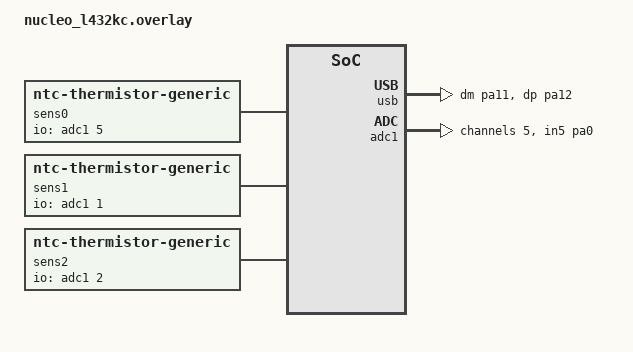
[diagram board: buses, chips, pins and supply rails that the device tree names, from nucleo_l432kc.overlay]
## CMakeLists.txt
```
cmake_minimum_required(VERSION 3.13.1)
find_package(Zephyr REQUIRED HINTS $ENV{ZEPHYR_BASE})

project(app LANGUAGES CXX)

target_include_directories(app PRIVATE include)

if (CMAKE_HOST_WIN32)
    set(PROTC_PLUGIN protoc-gen-eams=protoc-gen-eams.bat)
else()
    set(PROTC_PLUGIN protoc-gen-eams)
endif()

execute_process(
COMMAND
    protoc
    --plugin=${PROTC_PLUGIN}
    -I${CMAKE_CURRENT_SOURCE_DIR}/../proto
    --eams_out=${CMAKE_CURRENT_BINARY_DIR}/zephyr/include/generated
    SerialTempSens_messages.proto
WORKING_DIRECTORY
    ${ZEPHYR_BASE}/../modules/EmbeddedProto
ERROR_VARIABLE
    PROTOC_ERROR
RESULT_VARIABLE
    PROTOC_STATUS
)

if(NOT PROTOC_STATUS EQUAL 0)
    message(SEND_ERROR "Failed to generate protobuf headers: ${PROTOC_ERROR}")
endif()

target_link_libraries(app
PUBLIC
    embeddedProto
    myLib
)

target_sources(app
PRIVATE
    src/main.cpp
    src/SensorService.cpp
)
```

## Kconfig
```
# Copyright (c) 2021 Nordic Semiconductor ASA
# SPDX-License-Identifier: Apache-2.0
#
# This file is the application Kconfig entry point. All application Kconfig
# options can be defined here or included via other application Kconfig files.
# You can browse these options using the west targets menuconfig (terminal) or
# guiconfig (GUI).

menu "Zephyr"
source "Kconfig.zephyr"
endmenu

menu "App"
rsource "Kconfig.SensorService"
rsource "Kconfig.MessageChannel"
endmenu

module = APP
module-str = APP
source "subsys/logging/Kconfig.template.log_config"
```

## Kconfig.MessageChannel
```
config MESSAGECHANNEL
    bool "MessageChannel"
    # select REQUIRES_FULL_LIBCPP

if MESSAGECHANNEL

    config MESSAGECHANNEL_RECEIVE_TIMEOUT
        int "MessageChannel receive timeout [ms]"
        default 500

    config MESSAGECHANNEL_UART_BUFFER_SIZE
        int "MessageChannel UART Receivebuffer size"
        default 32

endif # MESSAGECHANNEL
```

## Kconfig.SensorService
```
config SENSORSERVICE
    bool "Sensorservice"
    select SENSOR
    select REQUIRES_FULL_LIBCPP

if SENSORSERVICE

    config SENSORSERVICE_FETCH_INTERVAL
        int "Sensor fetch interval [ms]"
        default 500

    config SENSORSERVICE_THREAD_PRIO
        int "Sensorservice thread priority"
        default 0

    config SENSORSERVICE_STACK_SIZE
        int "Sensorservice thread stack size"
        default 512

    module = SENSORSERVICE
    module-str = SENSORSERVICE
    source "subsys/logging/Kconfig.template.log_config"

endif # SENSORSERVICE
```

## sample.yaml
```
# This file is provided so that the application can be compiled using Twister,
# the Zephyr testing tool. In this file, multiple combinations can be specified,
# so that you can easily test all of them locally or in CI.
sample:
  description: Serial TempSens Firmware
  name: serialTempSens-fw
common:
  build_only: true
  integration_platforms:
    - serial_temp_sens
tests:
  app.default: {}
  app.debug:
    extra_overlay_confs:
      - debug.conf
```

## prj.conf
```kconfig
CONFIG_CPP=y
CONFIG_STD_CPP2B=y

CONFIG_EMBEDDEDPROTO=y
CONFIG_MYLIB=y

CONFIG_SERIAL=y
CONFIG_UART_INTERRUPT_DRIVEN=y
CONFIG_USB_DEVICE_STACK=y
CONFIG_USB_CDC_ACM=y
CONFIG_USB_DEVICE_INITIALIZE_AT_BOOT=y

CONFIG_USB_DEVICE_MANUFACTURER="oschmidh"
CONFIG_USB_DEVICE_PRODUCT="SerialTempSens"
# CONFIG_USB_DEVICE_VID=
# CONFIG_USB_DEVICE_PID=

CONFIG_THREAD_NAME=n
CONFIG_CONSOLE=y
CONFIG_UART_CONSOLE=y
CONFIG_LOG=y
CONFIG_LOG_BACKEND_UART=y
CONFIG_PRINTK=y

CONFIG_SENSORSERVICE=y
CONFIG_MESSAGECHANNEL=y
```

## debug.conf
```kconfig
# Copyright (c) 2021 Nordic Semiconductor ASA
# SPDX-License-Identifier: Apache-2.0
#
# This is a Kconfig fragment which can be used to enable debug-related options
# in the application. See the README for more details.

CONFIG_DEBUG=y
CONFIG_ASSERT=y

CONFIG_SHELL=y
CONFIG_THREAD_NAME=y

CONFIG_SENSORSERVICE_LOG_LEVEL_DBG=y
CONFIG_APP_LOG_LEVEL_DBG=y
```

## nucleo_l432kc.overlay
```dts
/ {
    chosen {
        zephyr,com-uart = &usart2;
    };

    sens0: sens0 {
        compatible = "ntc-thermistor-generic";
        zephyr,compensation-table = <(-25) 101898>,
                     <(-15) 59605>,
                     <(-5) 36289>,
                     <(5) 22896>,
                     <(15) 14915>,
                     <(25) 10000>,
                     <(35) 6880>,
                     <(45) 4846>,
                     <(55) 3487>,
                     <(65) 2559>,
                     <(75) 1911>,
                     <(85) 1451>,
                     <(95) 1118>,
                     <(105) 873>,
                     <(115) 691>,
                     <(125) 553>;
        io-channels = <&adc1 5>;
        pullup-uv = <3300000>;
        pullup-ohm = <8200>;
        pulldown-ohm = <0>;
    };

    sens1: sens1 {
		compatible = "ntc-thermistor-generic";
		zephyr,compensation-table = <(-25) 101898>,
                     <(-15) 59605>,
                     <(-5) 36289>,
                     <(5) 22896>,
                     <(15) 14915>,
                     <(25) 10000>,
                     <(35) 6880>,
                     <(45) 4846>,
                     <(55) 3487>,
                     <(65) 2559>,
                     <(75) 1911>,
                     <(85) 1451>,
                     <(95) 1118>,
                     <(105) 873>,
                     <(115) 691>,
                     <(125) 553>;
		io-channels = <&adc1 1>;
		pullup-uv = <3300000>;
		pullup-ohm = <8200>;
		pulldown-ohm = <0>;
	};

	sens2: sens2 {
		compatible = "ntc-thermistor-generic";
		zephyr,compensation-table = <(-25) 101898>,
                     <(-15) 59605>,
                     <(-5) 36289>,
                     <(5) 22896>,
                     <(15) 14915>,
                     <(25) 10000>,
                     <(35) 6880>,
                     <(45) 4846>,
                     <(55) 3487>,
                     <(65) 2559>,
                     <(75) 1911>,
                     <(85) 1451>,
                     <(95) 1118>,
                     <(105) 873>,
                     <(115) 691>,
                     <(125) 553>;
		io-channels = <&adc1 2>;
		pullup-uv = <3300000>;
		pullup-ohm = <8200>;
		pulldown-ohm = <0>;
	};
};

zephyr_udc0: &usb {
    pinctrl-0 = <&usb_dm_pa11 &usb_dp_pa12>;
    pinctrl-names = "default";
    status = "okay";

    cdc_acm_uart0: cdc_acm_uart0 {
        compatible = "zephyr,cdc-acm-uart";
    };
};

&adc1 {
    pinctrl-0 = <&adc1_in5_pa0>;
    pinctrl-names = "default";
    st,adc-clock-source = <ASYNC>;
    st,adc-prescaler = <8>;
    #address-cells = <1>;
    #size-cells = <0>;
    status = "okay";

    channel@5 {
        reg = <5>;
        zephyr,gain = "ADC_GAIN_1";
        zephyr,reference = "ADC_REF_INTERNAL";
        zephyr,acquisition-time = <ADC_ACQ_TIME_DEFAULT>;
        zephyr,resolution = <12>;
    };
};
```

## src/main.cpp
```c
#include <SerialTempSens_messages.h>

#include "SensorService.hpp"
#include "MessageChannel.hpp"

#include <zephyr/device.h>
#include <zephyr/drivers/sensor.h>
#include <zephyr/usb/usb_device.h>
#include <zephyr/logging/log.h>

#include <utility>

LOG_MODULE_REGISTER(main, CONFIG_APP_LOG_LEVEL);

static const struct device* const uart_dev = DEVICE_DT_GET(DT_CHOSEN(zephyr_com_uart));

int main()
{
    SensorService sensors;

    sensors.init();
    sensors.start();

    MessageChannel channel(uart_dev);

    if (!channel.init()) {
        LOG_ERR("Failed to init MessageChannel");
    }

    channel.start();    // starts rx interrupt
    LOG_DBG("msgChannel started");

    const auto process = [&sensors = std::as_const(sensors)](const Command& cmd) noexcept -> Reply {
        LOG_DBG("command received");

        Reply rply;

        const auto ret = sensors.get(cmd.sensorId());
        if (!ret.has_value()) {
            switch (ret.error()) {
                case SensorError::InvalidId:
                    rply.set_error(ErrorCode::InvalidSensorId);
                    LOG_ERR("Invalid sensor ID received");
                    break;

                case SensorError::NotPresent:
                    rply.set_error(ErrorCode::SensorOpen);
                    LOG_ERR("no sensor connected on channel %d", cmd.sensorId());
                    break;

                case SensorError::ReadFail:
                    rply.set_error(ErrorCode::IoError);
                    LOG_ERR("Failed to read sensor");
                    break;
            }
            return rply;
        }

        rply.set_temperature(ret.value());
        rply.set_error(ErrorCode::NoError);
        return rply;
    };

    while (1) {
        channel.run(process);
    }

    return 0;
}
```

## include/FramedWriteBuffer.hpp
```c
#ifndef SERIALTEMPSENS_FW_APP_INCLUDE_FRAMEDWRITEBUFFER_H
#define SERIALTEMPSENS_FW_APP_INCLUDE_FRAMEDWRITEBUFFER_H

#include <WriteBufferInterface.h>

#include <algorithm>
#include <array>
#include <span>
#include <cstdint>

template <std::size_t SIZE_V = 32>
class FramedWriteBuffer final : public ::EmbeddedProto::WriteBufferInterface {
  public:
    constexpr FramedWriteBuffer() noexcept = default;
    ~FramedWriteBuffer() noexcept final = default;

    constexpr void clear() noexcept final { _idx = 0; };
    constexpr uint32_t get_size() const noexcept final { return _idx; };
    constexpr uint32_t get_max_size() const noexcept final { return _framedBuf.buf.size(); };
    constexpr uint32_t get_available_size() const noexcept final { return get_max_size() - get_size(); };

    constexpr bool push(const uint8_t byte) noexcept final
    {
        if (get_available_size() == 0) {
            return false;
        }
        _framedBuf.buf[_idx++] = byte;
        return true;
    };

    constexpr bool push(const uint8_t* bytes, const uint32_t length) noexcept final
    {
        if (get_available_size() <= length) {
            return false;
        }
        std::copy_n(bytes, length, &_framedBuf.buf[_idx]);
        _idx += length;
        return true;
    };

    constexpr std::span<const std::uint8_t> frame() noexcept
    {
        _framedBuf.len = get_size();
        return {reinterpret_cast<std::uint8_t*>(&_framedBuf), get_size() + 1};    // HACK ?
    }

  private:
    std::size_t _idx{};

    struct __attribute__((packed)) {
        std::uint8_t len;
        std::array<std::uint8_t, SIZE_V> buf;
    } _framedBuf;
    static_assert(sizeof(_framedBuf) == SIZE_V + 1);
};

#endif    // SERIALTEMPSENS_FW_APP_INCLUDE_FRAMEDWRITEBUFFER_H
```

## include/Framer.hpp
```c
#ifndef SERIALTEMPSENS_FW_APP_INCLUDE_FRAMER_H
#define SERIALTEMPSENS_FW_APP_INCLUDE_FRAMER_H

#include <cstdint>

template <typename BUFFER_T>
class Framer {
  public:
    constexpr Framer(BUFFER_T& buf) noexcept
     : _buf(buf)
    { }

    void deframe(std::uint8_t b) noexcept
    {
        switch (_state) {
            case State::Header:
                _len = b;
                _state = State::Data;
                break;

            case State::Data:
                if (_len-- <= 0) {
                    return;    // TODO error?
                }

                _buf.push(b);
                break;
        }
    }

    constexpr bool msgComplete() const noexcept { return _len <= 0; }

  private:
    enum class State { Header, Data };

    BUFFER_T& _buf;
    State _state = State::Header;
    std::size_t _len = -1;
};

#endif    // SERIALTEMPSENS_FW_APP_INCLUDE_FRAMER_H
```

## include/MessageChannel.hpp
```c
#ifndef SERIALTEMPSENS_FW_APP_INCLUDE_MESSAGECHANNEL_H
#define SERIALTEMPSENS_FW_APP_INCLUDE_MESSAGECHANNEL_H

#include "UartReceiveBuffer.hpp"
#include "FramedWriteBuffer.hpp"
#include "Framer.hpp"
#include <ReadBufferFixedSize.h>

#include <myLib/Uart.hpp>

#include <type_traits>

static_assert(IS_ENABLED(CONFIG_MESSAGECHANNEL), "Messagechannel KConfig not enabled");

namespace internal {

template <typename>
struct FunctionTraits;

template <typename RET_T, typename FUNC_T, typename PARAM_T>
struct FunctionTraits<RET_T (FUNC_T::*)(PARAM_T)> {
    using ReturnType = RET_T;
    using ParamType = std::decay_t<PARAM_T>;
};

template <typename RET_T, typename FUNC_T, typename PARAM_T>
struct FunctionTraits<RET_T (FUNC_T::*)(PARAM_T) noexcept> {
    using ReturnType = RET_T;
    using ParamType = std::decay_t<PARAM_T>;
};

template <typename RET_T, typename FUNC_T, typename PARAM_T>
struct FunctionTraits<RET_T (FUNC_T::*)(PARAM_T) const> {
    using ReturnType = RET_T;
    using ParamType = std::decay_t<PARAM_T>;
};

template <typename RET_T, typename FUNC_T, typename PARAM_T>
struct FunctionTraits<RET_T (FUNC_T::*)(PARAM_T) const noexcept> {
    using ReturnType = RET_T;
    using ParamType = std::decay_t<PARAM_T>;
};

template <typename LAMBDA_T>
struct LambdaTraits {
    using FunctionType = decltype(&LAMBDA_T::operator());
    using ReturnType = typename FunctionTraits<FunctionType>::ReturnType;
    using ParamType = typename FunctionTraits<FunctionType>::ParamType;
};

}    // namespace internal

class MessageChannel {
  public:
    MessageChannel(const device* const dev) noexcept
     : _uart(dev, _buf)
    { }

    bool init() noexcept { return _uart.init(); }
    void start() noexcept { _uart.enableRx(); }
    void stop() noexcept { _uart.disableRx(); }

    template <typename PROCESS_FUNC_T>
    [[noreturn]] void run(PROCESS_FUNC_T process) noexcept
    {
        using MessageType = typename internal::LambdaTraits<PROCESS_FUNC_T>::ParamType;

        while (1) {
            const auto msg = receive<MessageType>();

            if (msg.has_value()) {
                send(process(msg.value()));
            }
        }
    }

  private:
    bool send(auto msg) noexcept
    {
        FramedWriteBuffer writeBuf;

        if (msg.serialize(writeBuf) != ::EmbeddedProto::Error::NO_ERRORS) {
            return false;
        }

        // _uart.send(writeBuf.frame());    // TODO switch when ready
        _uart.sendPolling(writeBuf.frame());
        return true;
    }

    template <typename MSG_T>
    std::optional<MSG_T> receive() noexcept
    {
        EmbeddedProto::ReadBufferFixedSize<32> readBuf;
        Framer framer(readBuf);

        do {
            const auto byte = _buf.pull(std::chrono::milliseconds(CONFIG_MESSAGECHANNEL_RECEIVE_TIMEOUT));
            if (!byte.has_value()) {
                return std::nullopt;
            }

            framer.deframe(byte.value());
        } while (!framer.msgComplete());

        MSG_T receivedMsg;
        if (receivedMsg.deserialize(readBuf) != ::EmbeddedProto::Error::NO_ERRORS) {
            return std::nullopt;
        }

        return receivedMsg;
    }

    using UartReceiveBufferType = UartReceiveBuffer<CONFIG_MESSAGECHANNEL_UART_BUFFER_SIZE>;

    UartReceiveBufferType _buf{};
    Uart<UartReceiveBufferType> _uart;
};

#endif    // SERIALTEMPSENS_FW_APP_INCLUDE_MESSAGECHANNEL_H
```

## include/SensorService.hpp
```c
#ifndef SERIALTEMPSENS_FW_APP_INCLUDE_SENSORSERVICE_H
#define SERIALTEMPSENS_FW_APP_INCLUDE_SENSORSERVICE_H

#include <zephyr/device.h>
#include <zephyr/drivers/sensor.h>
#include <zephyr/kernel.h>

#include <expected>
#include <array>
#include <cstdint>

enum class SensorError {
    InvalidId,
    NotPresent,
    ReadFail,
};

class SensorService {
  public:
    constexpr SensorService() noexcept { }

    bool init() const noexcept;
    void start() noexcept;
    void stop() const noexcept { k_thread_abort(_threadId); }
    auto get(std::size_t idx) const noexcept -> std::expected<int, SensorError>;

  private:
    static constexpr std::array<const device* const, 3> tempSensors{
        DEVICE_DT_GET(DT_NODELABEL(sens0)),
        DEVICE_DT_GET(DT_NODELABEL(sens1)),
        DEVICE_DT_GET(DT_NODELABEL(sens2)),
    };

    void fetchSensors() const noexcept;
    static void threadEntry(void* p1, void*, void*) noexcept { reinterpret_cast<SensorService*>(p1)->fetchSensors(); }

    k_thread _thread{};
    k_tid_t _threadId;
};

#endif    // SERIALTEMPSENS_FW_APP_INCLUDE_SENSORSERVICE_H
```

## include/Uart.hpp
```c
#ifndef SERIALTEMPSENS_FW_APP_INCLUDE_UART_H
#define SERIALTEMPSENS_FW_APP_INCLUDE_UART_H

#include <myLib/RingBuffer.hpp>
#include <myLib/Semaphore.hpp>

#include <zephyr/device.h>
#include <zephyr/drivers/uart.h>

#include <cstdint>
#include <span>

template <std::size_t SIZE_V>
class UartBuffer {
  public:
    using DataType = std::uint8_t;

    DataType pull() noexcept
    {
        _sem.take();
        const auto val = _buf.pull();
        return val.value_or(0);
    }

    bool push(DataType b) noexcept
    {
        if (!_buf.push(b)) {
            return false;
        }

        _sem.give();
        return true;
    }

  private:
    myLib::Semaphore _sem{SIZE_V};
    myLib::RingBuffer<DataType, SIZE_V> _buf;
};

template <typename BUFFER_T>    // TODO concept
class Uart {
  public:
    constexpr Uart(const device* const dev, BUFFER_T& recvBuf) noexcept
     : _dev(dev)
     , _recvBuf(recvBuf)
    { }

    bool init() noexcept
    {
        if (!device_is_ready(_dev)) {
            return false;
        }

        if (uart_irq_callback_user_data_set(_dev, rxCallbackHelper, reinterpret_cast<void*>(this)) != 0) {
            return false;
        }
        return true;
    }

    void send(std::span<const std::uint8_t> data) noexcept { }    // TODO implement

    void sendPolling(std::span<const std::uint8_t> data) noexcept
    {
        for (std::uint8_t d : data) {
            // printk("poll out %c\n", d + '0');
            uart_poll_out(_dev, d);
        }
    }

    void enableRx() const noexcept { uart_irq_rx_enable(_dev); }
    void disableRx() const noexcept { uart_irq_rx_disable(_dev); }

    void enableTx() const noexcept { uart_irq_tx_enable(_dev); }
    void disableTx() const noexcept { uart_irq_tx_disable(_dev); }

  private:
    void rxCallback() noexcept
    {
        if (!uart_irq_update(_dev)) {
            return;
        }

        if (!uart_irq_rx_ready(_dev)) {
            return;
        }

        std::uint8_t c;
        while (uart_fifo_read(_dev, &c, 1) == 1) {
            // printk("rec:%c\n", c + '0');
            _recvBuf.push(c);
        }
    }

    // void txCallback() noexcept   // TODO fix impl.
    // {
    //     if (!uart_irq_update(_dev)) {
    //         return;
    //     }

    //     size_t remCnt = _sendBuf.size();
    //     while (uart_irq_tx_ready(_dev) && remCnt > 0) {
    //         const int ret = uart_fifo_fill(&_dev, , );
    //         if (ret < 0) {
    //             // TODO abort
    //             uart_irq_tx_disable(_dev);
    //             return;
    //         }

    //         remCnt -= ret;
    //         if (remCnt <= 0) {
    //             uart_irq_tx_disable(_dev);
    //             return;
    //         }
    //         _sendBuf = _sendBuf.subspan();    // TODO
    //     }
    // }

    static void rxCallbackHelper(const struct device* dev, void* user_data) noexcept
    {
        reinterpret_cast<Uart*>(user_data)->rxCallback();
    }

    const device* const _dev;
    BUFFER_T& _recvBuf;
};

#endif    // SERIALTEMPSENS_FW_APP_INCLUDE_UART_H
```

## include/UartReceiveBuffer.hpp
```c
#ifndef SERIALTEMPSENS_FW_APP_INCLUDE_UARTRECEIVEBUFFER_H
#define SERIALTEMPSENS_FW_APP_INCLUDE_UARTRECEIVEBUFFER_H

#include <myLib/RingBuffer.hpp>
#include <myLib/Spinlock.hpp>
#include <myLib/Semaphore.hpp>

#include <chrono>
#include <optional>
#include <cstdint>

template <std::size_t SIZE_V>
class UartReceiveBuffer {
  public:
    using DataType = std::uint8_t;

    template <typename REP_T, typename PERIOD_T>
    std::optional<DataType> pull(std::chrono::duration<REP_T, PERIOD_T> timeout) noexcept
    {
        if (!_sem.take(timeout)) {
            return std::nullopt;
        }
        return _buf.pull();
    }

    std::optional<DataType> pull() noexcept
    {
        _sem.take();
        return _buf.pull();
    }

    bool push(DataType b) noexcept
    {
        if (!_buf.push(b)) {
            return false;
        }

        _sem.give();
        return true;
    }

  private:
    myLib::Semaphore _sem{SIZE_V};
    myLib::RingBuffer<DataType, SIZE_V, myLib::Policies::ThreadSafe<myLib::Spinlock>> _buf;
};

#endif    // SERIALTEMPSENS_FW_APP_INCLUDE_UARTRECEIVEBUFFER_H
```

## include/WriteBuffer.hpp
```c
#ifndef APP_INC_UARTWRITEBUFFER_H
#define APP_INC_UARTWRITEBUFFER_H

#include <WriteBufferInterface.h>

#include <algorithm>
#include <array>
#include <cstdint>

template <std::size_t SIZE_V = 32>
class WriteBuffer final : public ::EmbeddedProto::WriteBufferInterface {
  public:
    constexpr WriteBuffer() noexcept = default;
    ~WriteBuffer() noexcept final = default;

    constexpr void clear() noexcept final { _idx = 0; };
    constexpr uint32_t get_size() const noexcept final { return _idx; };
    constexpr uint32_t get_max_size() const noexcept final { return _buf.size(); };
    constexpr uint32_t get_available_size() const noexcept final { return get_max_size() - get_size(); };
    constexpr const uint8_t* cbegin() const noexcept { return &_buf[0]; }
    constexpr uint8_t* begin() noexcept { return &_buf[0]; }
    constexpr const uint8_t* cend() const noexcept { return &_buf[_idx]; }
    constexpr uint8_t* end() noexcept { return &_buf[_idx]; }

    constexpr bool push(const uint8_t byte) noexcept final
    {
        if (get_available_size() == 0) {
            return false;
        }
        _buf[_idx++] = byte;
        return true;
    };

    constexpr bool push(const uint8_t* bytes, const uint32_t length) noexcept final
    {
        if (get_available_size() <= length) {
            return false;
        }
        std::copy_n(bytes, length, &_buf[_idx]);
        _idx += length;
        return true;
    };

  private:
    std::size_t _idx{};
    std::array<std::uint8_t, SIZE_V> _buf;
};

#endif    // APP_INC_UARTWRITEBUFFER_H
```

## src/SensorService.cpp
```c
#include "SensorService.hpp"

#include <zephyr/logging/log.h>

LOG_MODULE_REGISTER(sensorService, CONFIG_SENSORSERVICE_LOG_LEVEL);

namespace {

K_THREAD_STACK_DEFINE(threadStack, CONFIG_SENSORSERVICE_STACK_SIZE);

}

bool SensorService::init() const noexcept
{
    for (const auto sensor : tempSensors) {
        if (!device_is_ready(sensor)) {
            LOG_WRN("Sensor not ready\n");
            return false;
        }
    }
    return true;
}

void SensorService::start() noexcept
{
    _threadId = k_thread_create(&_thread, threadStack, K_THREAD_STACK_SIZEOF(threadStack), threadEntry, this, nullptr,
                                nullptr, CONFIG_SENSORSERVICE_THREAD_PRIO, 0, K_NO_WAIT);

    if constexpr (IS_ENABLED(CONFIG_THREAD_NAME)) {
        k_thread_name_set(&_thread, "sensorservice");
    }
}

auto SensorService::get(std::size_t idx) const noexcept -> std::expected<int, SensorError>
{
    if (idx >= tempSensors.size()) {
        return std::unexpected(SensorError::InvalidId);
    }

    struct sensor_value temp;
    if (const int rc = sensor_channel_get(tempSensors[idx], SENSOR_CHAN_AMBIENT_TEMP, &temp); rc != 0) {
        return std::unexpected(SensorError::ReadFail);
    }

    const int val = sensor_value_to_milli(&temp);

    if (val == -25000) {
        return std::unexpected(SensorError::NotPresent);
    }

    return val;
}

void SensorService::fetchSensors() const noexcept
{
    while (1) {

        for (const auto sensor : tempSensors) {
            if (const int rc = sensor_sample_fetch(sensor); rc != 0) {
                LOG_ERR("failed to fetch sensor, %d", rc);
            }
        }

        k_sleep(K_MSEC(CONFIG_SENSORSERVICE_FETCH_INTERVAL));
    }
}
```
